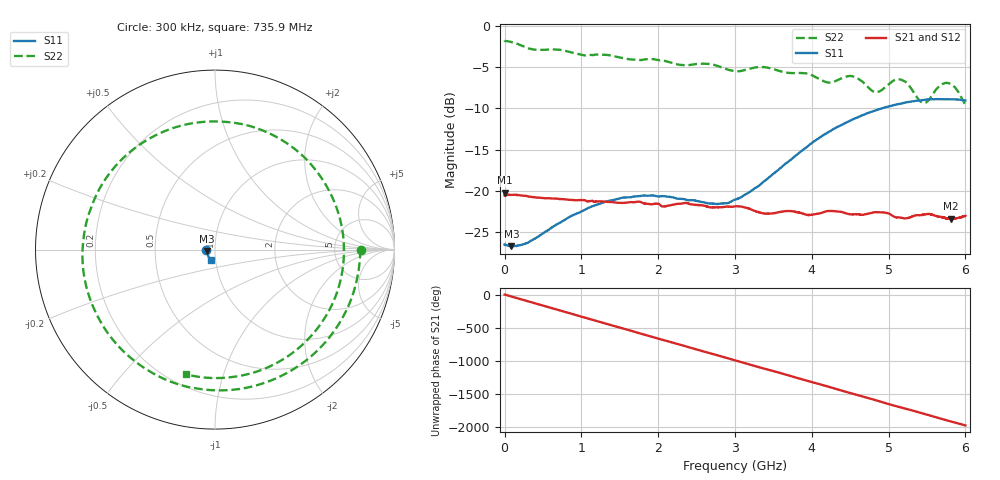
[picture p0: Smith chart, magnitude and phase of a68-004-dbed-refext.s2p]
!  3/18/2021  11:11:31
! Ref Plane: 13.288 mm
# MHZ S MA R  50
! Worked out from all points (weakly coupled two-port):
!   10001 points, 300 kHz to 6 GHz, reference 50 ohm
!   highest |S21| = -20.21 dB at 300 kHz (marker M1); lowest = -23.3 dB at 5.815 GHz (marker M2)
!   lowest |S11| = -26.7 dB at 87.9 MHz (marker M3), VSWR 1.10, Z = 45.6 - j0.732 ohm
!   |S11| at or under -10 dB: start of sweep to 4.911 GHz
!   |S22| runs from -9.6 to -1.8 dB; largest |S21 - S12| = 0.0024
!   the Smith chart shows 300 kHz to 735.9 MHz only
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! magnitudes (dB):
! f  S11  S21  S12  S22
! 300 kHz  -26.5  -20.2  -20.4  -1.8
! 87.9 MHz  -26.7  -20.5  -20.4  -2.0
! 297.9 MHz  -26.3  -20.6  -20.6  -2.7
! 1 GHz  -22.5  -21.1  -21.1  -3.5
! 1.531 GHz  -20.8  -21.4  -21.4  -3.9
! 2.001 GHz  -20.7  -21.5  -21.5  -4.2
! 2.312 GHz  -20.9  -21.5  -21.5  -4.7
! 2.753 GHz  -21.6  -22.0  -22.0  -4.8
! 3 GHz  -21.0  -21.9  -21.9  -5.5
! 3.369 GHz  -18.9  -22.7  -22.7  -5.0
! 3.715 GHz  -16.3  -22.4  -22.4  -5.7
! 4 GHz  -14.2  -22.9  -22.8  -6.0
! 4.224 GHz  -12.8  -22.4  -22.4  -6.9
! 4.532 GHz  -11.3  -22.8  -22.8  -6.1
! 4.831 GHz  -10.2  -22.6  -22.5  -8.0
! 5 GHz  -9.8  -22.7  -22.7  -7.1
! 5.099 GHz  -9.5  -23.2  -23.2  -6.5
! 5.194 GHz  -9.3  -23.3  -23.3  -6.6
! 5.461 GHz  -9.0  -22.8  -22.8  -9.3
! 5.683 GHz  -8.9  -23.1  -23.2  -7.1
! 5.815 GHz  -8.9  -23.3  -23.4  -7.1
! 6 GHz  -9.0  -23.0  -22.9  -9.6
